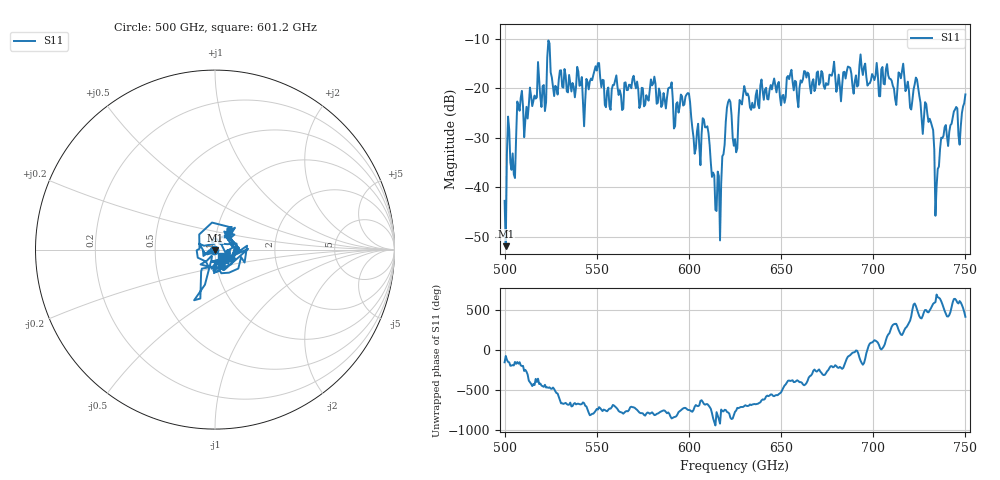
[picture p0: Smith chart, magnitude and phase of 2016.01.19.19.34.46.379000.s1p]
!Created with skrf (http://scikit-rf.org).
# GHz S RI R 50.0
!freq ReS11 ImS11
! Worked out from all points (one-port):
!   401 points, 500 GHz to 750 GHz, reference 50 ohm
!   lowest |S11| = -51.9 dB at 500.6 GHz (marker M1), VSWR 1.01, Z = 50.1 - j0.245 ohm
!   |S11| at or under -10 dB: start of sweep to end of sweep
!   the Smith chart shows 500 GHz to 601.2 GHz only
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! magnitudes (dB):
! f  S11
! 500 GHz  -42.8
! 500.6 GHz  -51.9
! 502.5 GHz  -28.3
! 505 GHz  -37.4
! 508.1 GHz  -24.5
! 521.2 GHz  -19.3
! 524.4 GHz  -10.9
! 527.5 GHz  -19.5
! 531.2 GHz  -19.7
! 543.8 GHz  -22.4
! 550 GHz  -16.4
! 562.5 GHz  -20.3
! 580.6 GHz  -19.0
! 593.8 GHz  -22.8
! 599.4 GHz  -21.0
! 605 GHz  -27.2
! 608.8 GHz  -27.9
! 615.6 GHz  -36.8
! 621.2 GHz  -22.8
! 625 GHz  -30.3
! 630.6 GHz  -20.5
! 656.2 GHz  -18.7
! 687.5 GHz  -15.8
! 718.8 GHz  -18.6
! 729.4 GHz  -25.2
! 734.4 GHz  -39.8
! 738.1 GHz  -29.6
! 750 GHz  -21.2
